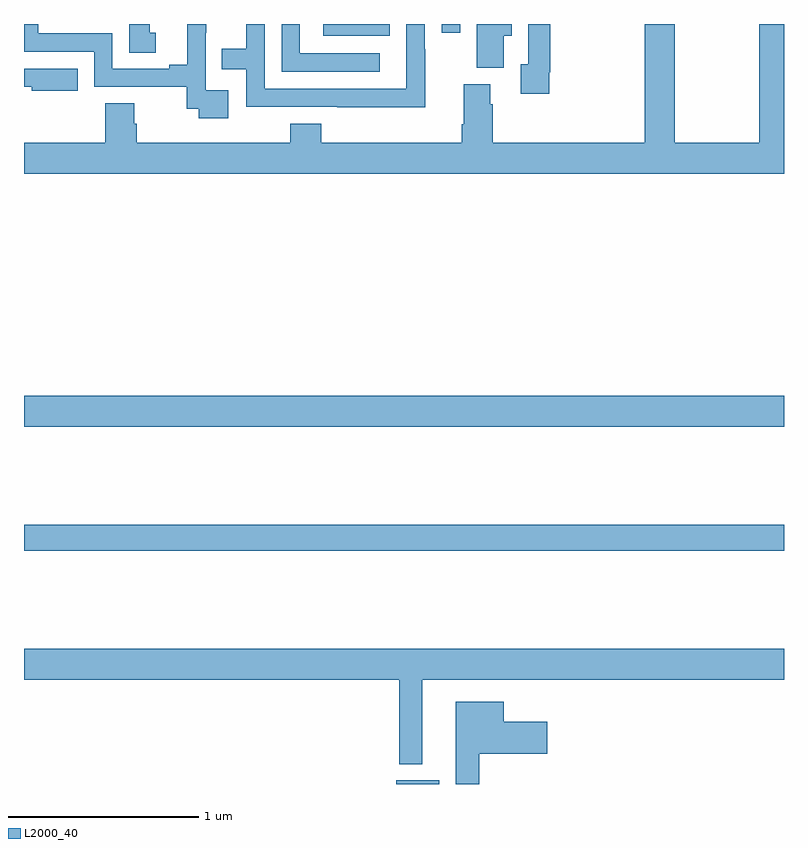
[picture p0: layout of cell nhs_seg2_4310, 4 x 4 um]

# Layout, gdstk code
import gdstk
lib = gdstk.Library(unit=1e-6, precision=1e-09)
def R(c, l, rs):  # rectangles x0, y0, x1, y1
    for r in rs: c.add(gdstk.rectangle(r[:2], r[2:], *l))
def P(c, l, *ps):  # polygons
    for p in ps: c.add(gdstk.Polygon(p, *l))
L2000_40 = (2000, 40)

nhs_seg2_4310 = lib.new_cell('nhs_seg2_4310')
R(nhs_seg2_4310, L2000_40, [(346.958,601.8,347.185,601.819), (345,603.028,349,603.164), (345,603.68,349,603.844), (346.575,605.738,346.924,605.8), (347.199,605.754,347.295,605.8)])
P(nhs_seg2_4310, L2000_40, [(346.075,605.451),(345.957,605.451),(345.957,605.755),(345.959,605.755),(345.959,605.8),(345.86,605.8),(345.86,605.585),(345.764,605.585),(345.764,605.565),(345.465,605.565),(345.465,605.751),(345.075,605.751),(345.075,605.8),(345,605.8),(345,605.655),(345.369,605.655),(345.369,605.469),(345.856,605.469),(345.856,605.355),(345.919,605.355),(345.919,605.304),(346.075,605.304)],
  [(347.111,605.666),(347.109,605.666),(347.109,605.8),(347.013,605.8),(347.013,605.46),(346.266,605.46),(346.266,605.8),(346.169,605.8),(346.169,605.671),(346.042,605.671),(346.042,605.562),(346.17,605.562),(346.17,605.364),(346.648,605.364),(346.648,605.363),(347.111,605.363)],
  [(345.694,605.754),(345.661,605.754),(345.661,605.8),(345.554,605.8),(345.554,605.65),(345.694,605.65)],
  [(347.524,605.738),(347.566,605.738),(347.566,605.8),(347.384,605.8),(347.384,605.569),(347.524,605.569)],
  [(346.873,605.646),(346.452,605.646),(346.452,605.8),(346.356,605.8),(346.356,605.55),(346.873,605.55)],
  [(347.764,605.545),(347.771,605.545),(347.771,605.8),(347.655,605.8),(347.655,605.589),(347.615,605.589),(347.615,605.433),(347.764,605.433)],
  [(349,605.8),(348.871,605.8),(348.871,605.176),(348.426,605.176),(348.426,605.8),(348.266,605.8),(348.266,605.176),(347.468,605.176),(347.468,605.378),(347.455,605.378),(347.455,605.484),(347.315,605.484),(347.315,605.272),(347.303,605.272),(347.303,605.176),(346.565,605.176),(346.565,605.275),(346.4,605.275),(346.4,605.176),(345.593,605.176),(345.593,605.274),(345.58,605.274),(345.58,605.384),(345.428,605.384),(345.428,605.176),(345,605.176),(345,605.012),(349,605.012)],
  [(345.284,605.565),(345,605.565),(345,605.469),(345.041,605.469),(345.041,605.45),(345.284,605.45)],
  [(347.095,602.348),(349,602.348),(349,602.512),(345,602.512),(345,602.348),(346.974,602.348),(346.974,601.904),(347.095,601.904)],
  [(347.395,601.958),(347.755,601.958),(347.755,602.128),(347.524,602.128),(347.524,602.233),(347.273,602.233),(347.273,601.8),(347.395,601.8)])

lib.write_gds('nhs_seg2_4310.gds')
